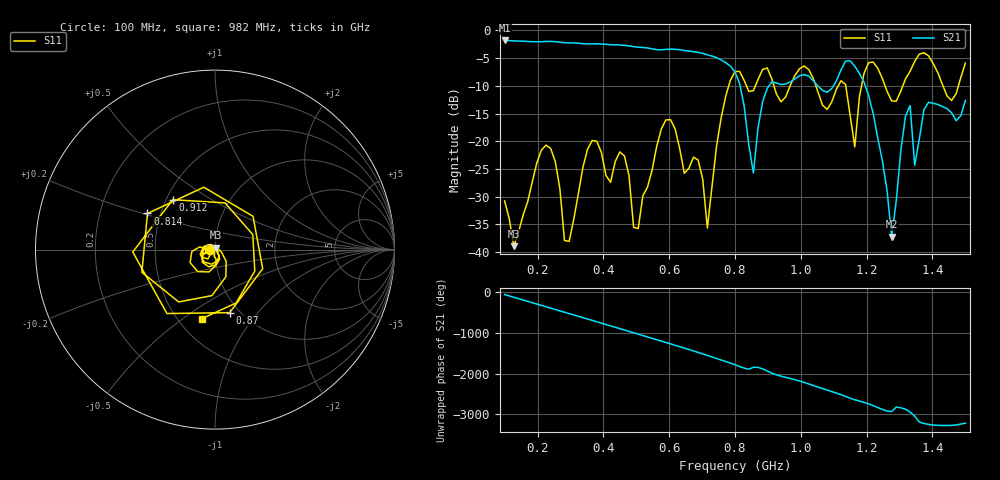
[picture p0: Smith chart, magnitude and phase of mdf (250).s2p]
! NanoVNA-App
! Date: 2025-09-25 15:40:22
! Start: 100MHz Stop: 1,5GHz Points: 101
! S-Parameter data: F S11 S21 S12 S22
# Hz S RI R 50
!  Frequency  S11_Real  S11_Imag  S21_Real  S21_Imag  S12_Real  S12_Imag  S22_Real  S22_Imag
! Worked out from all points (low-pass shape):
!   101 points, 100 MHz to 1.5 GHz, reference 50 ohm
!   highest |S21| = -1.80 dB at 100 MHz (marker M1); lowest = -37.2 dB at 1.276 GHz (marker M2)
!   |S21| within 3 dB of the highest: start of sweep to 739.1 MHz
!   lowest |S11| = -38.9 dB at 128 MHz (marker M3), VSWR 1.02, Z = 50.3 + j1.08 ohm
!   |S11| at or under -10 dB: start of sweep to 781 MHz; 1.046 GHz to 1.114 GHz (67.9 MHz wide, 6.29 % of centre); 1.256 GHz to 1.31 GHz (53.96 MHz wide, 4.21 % of centre)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
!   S12 and S22 are empty: the file has one direction only
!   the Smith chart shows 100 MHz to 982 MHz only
!   S11 on the Smith chart (normalised r, x): 100 MHz: 0.94, -0.01; 814 MHz: 0.42, +0.21; 870 MHz: 0.90, -0.73; 912 MHz: 0.54, +0.35; 982 MHz: 0.65, -0.59
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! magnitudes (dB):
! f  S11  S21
! 100 MHz  -30.8  -1.8
! 128 MHz  -38.9  -1.9
! 212 MHz  -21.6  -2.0
! 282 MHz  -37.9  -2.2
! 338 MHz  -24.7  -2.4
! 464 MHz  -22.7  -2.7
! 506 MHz  -35.8  -3.0
! 576 MHz  -17.8  -3.5
! 716 MHz  -35.7  -4.4
! 800 MHz  -7.4  -7.5
! 814 MHz  -7.4  -9.6
! 856 MHz  -10.9  -25.7
! 870 MHz  -8.9  -17.5
! 912 MHz  -8.8  -9.3
! 982 MHz  -8.1  -8.8
! 1.038 GHz  -8.7  -9.1
! 1.164 GHz  -21.0  -6.5
! 1.192 GHz  -7.8  -9.3
! 1.276 GHz  -12.7  -37.2
! 1.332 GHz  -7.4  -13.6
! 1.346 GHz  -5.6  -24.3
! 1.5 GHz  -5.9  -12.6
